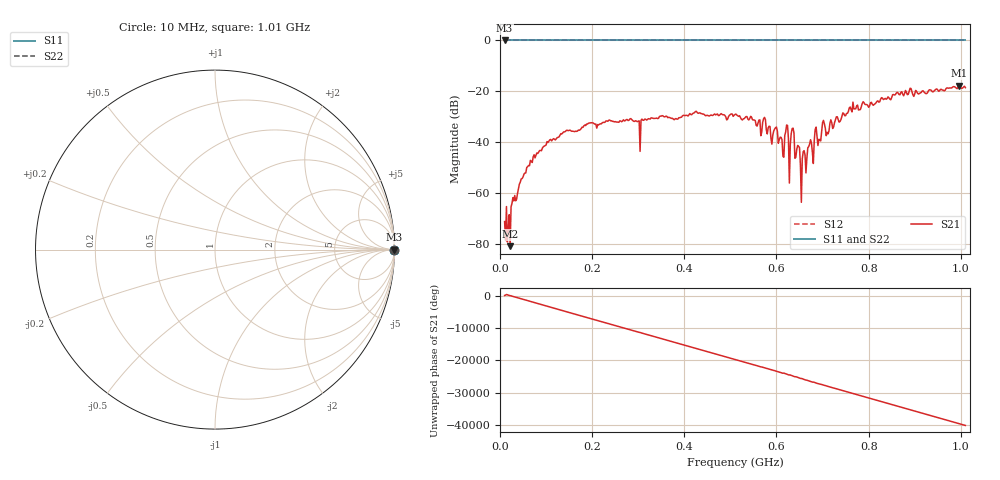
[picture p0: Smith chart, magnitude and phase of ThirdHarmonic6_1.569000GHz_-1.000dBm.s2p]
! 8/16/2025 6:39:29 PM
! C:\ANRITSUVNA\TEMP\TEMP.S2P
! CHANNEL.1
! TR.MEASUREMENT
! RAW.DATA
! RF.CORRECTION.OFF
! AVERAGING.OFF
! IF.BANDWIDTH: 5KHZ
! SWEEPTYPE:  FREQ.SWEEP(Linear)
! Reference Plane Port Info
! PORT:  PORT1  PORT2
! DISTANCE:  0  m  0  m
! TIME:  0  s  0  s
! PHASE.OFFSET:  0  deg.  0  deg.
! LOSS:  0  dB  0  dB
! REF.LOSS:  0  dB  0  dB
! REF.FREQ:  0  Hz  0  Hz
! Power Info
! POWER:  -20  dBm  -20  dBm
! EFF.POWER:  -20  dBm  -20  dBm
! SOURCE.ATTEN:  0  dB  0  dB
! TEST.ATTEN:  0  dB  0  dB
# GHZ S RI R 50.0
! FREQ.GHZ  S11RE  S11IM  S21RE  S21IM  S12RE  S12IM  S22RE  S22IM
!; PortSelection: Port_12
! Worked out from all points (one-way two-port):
!   501 points, 10 MHz to 1.01 GHz, reference 50 ohm
!   highest |S21| = -17.78 dB at 996 MHz (marker M1); lowest = -80.9 dB at 22 MHz (marker M2)
!   lowest |S11| = 0.0 dB at 10 MHz (marker M3)
!   |S11| at or under -10 dB: nowhere
!   |S22| runs from 0.0 to 0.0 dB; largest |S21 - S12| = 1.1
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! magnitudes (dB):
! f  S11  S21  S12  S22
! 10 MHz  0.0  -71.2  0.0  0.0
! 22 MHz  0.0  -80.9  0.0  0.0
! 28 MHz  0.0  -61.8  0.0  0.0
! 76 MHz  0.0  -46.2  0.0  0.0
! 178 MHz  0.0  -34.1  0.0  0.0
! 344 MHz  0.0  -30.6  0.0  0.0
! 510 MHz  0.0  -29.1  0.0  0.0
! 574 MHz  0.0  -30.3  0.0  0.0
! 598 MHz  0.0  -34.3  0.0  0.0
! 612 MHz  0.0  -39.0  0.0  0.0
! 622 MHz  0.0  -33.2  0.0  0.0
! 630 MHz  0.0  -40.9  0.0  0.0
! 634 MHz  0.0  -34.7  0.0  0.0
! 656 MHz  0.0  -46.5  0.0  0.0
! 672 MHz  0.0  -40.7  0.0  0.0
! 678 MHz  0.0  -44.1  0.0  0.0
! 702 MHz  0.0  -31.4  0.0  0.0
! 710 MHz  0.0  -36.1  0.0  0.0
! 762 MHz  0.0  -27.2  0.0  0.0
! 844 MHz  0.0  -22.5  0.0  0.0
! 996 MHz  0.0  -17.8  0.0  0.0
! 1.01 GHz  0.0  -18.6  0.0  0.0
